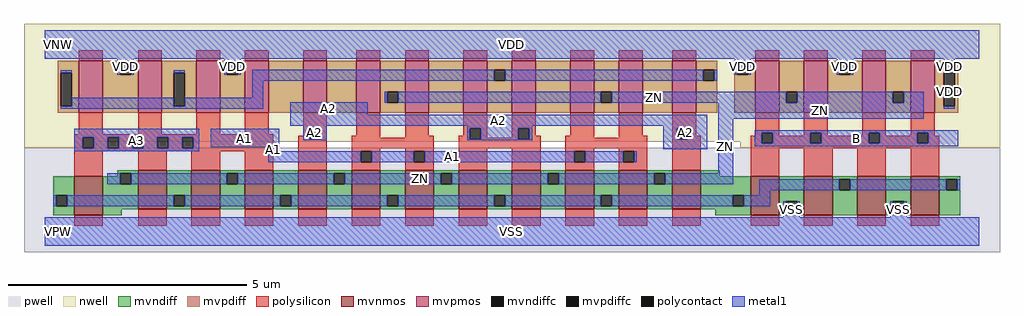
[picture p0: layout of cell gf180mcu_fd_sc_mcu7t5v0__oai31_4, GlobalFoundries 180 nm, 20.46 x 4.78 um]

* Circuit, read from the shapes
.subckt gf180mcu_fd_sc_mcu7t5v0__oai31_4 A1 A2 A3 B ZN VDD VNW VPW VSS
XM1 ZN A3 n1 VPW nfet_06v0 w=0.82u l=0.6u m=4
XM2 ZN A2 n1 VPW nfet_06v0 w=0.82u l=0.6u m=4
XM3 n1 A1 ZN VPW nfet_06v0 w=0.82u l=0.6u m=4
XM4 VSS B n1 VPW nfet_06v0 w=0.82u l=0.6u m=4
XM5 VDD A3 n2 VNW pfet_06v0 w=1.095u l=0.5u m=3
XM6 n3 A3 VDD VNW pfet_06v0 w=1.095u l=0.5u
XM7 n4 A2 n3 VNW pfet_06v0 w=1.095u l=0.5u
XM8 ZN A1 n4 VNW pfet_06v0 w=1.095u l=0.5u
XM9 n5 A1 ZN VNW pfet_06v0 w=1.095u l=0.5u
XM10 n2 A2 n5 VNW pfet_06v0 w=1.095u l=0.5u
XM11 n6 A2 n2 VNW pfet_06v0 w=1.095u l=0.5u
XM12 ZN A1 n6 VNW pfet_06v0 w=1.095u l=0.5u
XM13 n7 A1 ZN VNW pfet_06v0 w=1.095u l=0.5u
XM14 n2 A2 n7 VNW pfet_06v0 w=1.095u l=0.5u
XM15 ZN B VDD VNW pfet_06v0 w=1.095u l=0.5u m=4
.ends

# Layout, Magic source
magic
tech gf180mcuD
magscale 1 10
<< nwell >>
rect -86 377 4006 870
rect -86 352 219 377
rect 2916 352 4006 377
<< pwell >>
rect -86 -86 4006 352
<< mvnmos >>
rect 124 68 244 232
rect 392 93 512 257
rect 616 93 736 257
rect 840 93 960 257
rect 1064 93 1184 257
rect 1288 93 1408 257
rect 1512 93 1632 257
rect 1736 93 1856 257
rect 1960 93 2080 257
rect 2184 93 2304 257
rect 2408 93 2528 257
rect 2632 93 2752 257
rect 2960 68 3080 232
rect 3184 68 3304 232
rect 3408 68 3528 232
rect 3632 68 3752 232
<< mvpmos >>
rect 144 497 244 716
rect 392 497 492 716
rect 636 497 736 716
rect 840 497 940 716
rect 1084 497 1184 716
rect 1308 497 1408 716
rect 1512 497 1612 716
rect 1756 497 1856 716
rect 1960 497 2060 716
rect 2204 497 2304 716
rect 2408 497 2508 716
rect 2632 497 2732 716
rect 2980 497 3080 716
rect 3184 497 3284 716
rect 3428 497 3528 716
rect 3632 497 3732 716
<< mvndiff >>
rect 304 244 392 257
rect 304 232 317 244
rect 36 152 124 232
rect 36 106 49 152
rect 95 106 124 152
rect 36 68 124 106
rect 244 198 317 232
rect 363 198 392 244
rect 244 93 392 198
rect 512 152 616 257
rect 512 106 541 152
rect 587 106 616 152
rect 512 93 616 106
rect 736 244 840 257
rect 736 198 765 244
rect 811 198 840 244
rect 736 93 840 198
rect 960 152 1064 257
rect 960 106 989 152
rect 1035 106 1064 152
rect 960 93 1064 106
rect 1184 244 1288 257
rect 1184 198 1213 244
rect 1259 198 1288 244
rect 1184 93 1288 198
rect 1408 152 1512 257
rect 1408 106 1437 152
rect 1483 106 1512 152
rect 1408 93 1512 106
rect 1632 244 1736 257
rect 1632 198 1661 244
rect 1707 198 1736 244
rect 1632 93 1736 198
rect 1856 152 1960 257
rect 1856 106 1885 152
rect 1931 106 1960 152
rect 1856 93 1960 106
rect 2080 244 2184 257
rect 2080 198 2109 244
rect 2155 198 2184 244
rect 2080 93 2184 198
rect 2304 152 2408 257
rect 2304 106 2333 152
rect 2379 106 2408 152
rect 2304 93 2408 106
rect 2528 244 2632 257
rect 2528 198 2557 244
rect 2603 198 2632 244
rect 2528 93 2632 198
rect 2752 232 2832 257
rect 2752 152 2960 232
rect 2752 106 2885 152
rect 2931 106 2960 152
rect 2752 93 2960 106
rect 244 68 324 93
rect 2812 68 2960 93
rect 3080 127 3184 232
rect 3080 81 3109 127
rect 3155 81 3184 127
rect 3080 68 3184 81
rect 3304 219 3408 232
rect 3304 173 3333 219
rect 3379 173 3408 219
rect 3304 68 3408 173
rect 3528 127 3632 232
rect 3528 81 3557 127
rect 3603 81 3632 127
rect 3528 68 3632 81
rect 3752 219 3840 232
rect 3752 173 3781 219
rect 3827 173 3840 219
rect 3752 68 3840 173
<< mvpdiff >>
rect 56 665 144 716
rect 56 525 69 665
rect 115 525 144 665
rect 56 497 144 525
rect 244 703 392 716
rect 244 657 317 703
rect 363 657 392 703
rect 244 497 392 657
rect 492 665 636 716
rect 492 525 541 665
rect 587 525 636 665
rect 492 497 636 525
rect 736 703 840 716
rect 736 657 765 703
rect 811 657 840 703
rect 736 497 840 657
rect 940 497 1084 716
rect 1184 497 1308 716
rect 1408 586 1512 716
rect 1408 540 1437 586
rect 1483 540 1512 586
rect 1408 497 1512 540
rect 1612 497 1756 716
rect 1856 678 1960 716
rect 1856 632 1885 678
rect 1931 632 1960 678
rect 1856 497 1960 632
rect 2060 497 2204 716
rect 2304 586 2408 716
rect 2304 540 2333 586
rect 2379 540 2408 586
rect 2304 497 2408 540
rect 2508 497 2632 716
rect 2732 678 2820 716
rect 2732 632 2761 678
rect 2807 632 2820 678
rect 2732 497 2820 632
rect 2892 703 2980 716
rect 2892 657 2905 703
rect 2951 657 2980 703
rect 2892 497 2980 657
rect 3080 586 3184 716
rect 3080 540 3109 586
rect 3155 540 3184 586
rect 3080 497 3184 540
rect 3284 703 3428 716
rect 3284 657 3333 703
rect 3379 657 3428 703
rect 3284 497 3428 657
rect 3528 586 3632 716
rect 3528 540 3557 586
rect 3603 540 3632 586
rect 3528 497 3632 540
rect 3732 665 3830 716
rect 3732 525 3771 665
rect 3817 525 3830 665
rect 3732 497 3830 525
<< mvndiffc >>
rect 49 106 95 152
rect 317 198 363 244
rect 541 106 587 152
rect 765 198 811 244
rect 989 106 1035 152
rect 1213 198 1259 244
rect 1437 106 1483 152
rect 1661 198 1707 244
rect 1885 106 1931 152
rect 2109 198 2155 244
rect 2333 106 2379 152
rect 2557 198 2603 244
rect 2885 106 2931 152
rect 3109 81 3155 127
rect 3333 173 3379 219
rect 3557 81 3603 127
rect 3781 173 3827 219
<< mvpdiffc >>
rect 69 525 115 665
rect 317 657 363 703
rect 541 525 587 665
rect 765 657 811 703
rect 1437 540 1483 586
rect 1885 632 1931 678
rect 2333 540 2379 586
rect 2761 632 2807 678
rect 2905 657 2951 703
rect 3109 540 3155 586
rect 3333 657 3379 703
rect 3557 540 3603 586
rect 3771 525 3817 665
<< polysilicon >>
rect 144 716 244 760
rect 392 716 492 760
rect 636 716 736 760
rect 840 716 940 760
rect 1084 716 1184 760
rect 1308 716 1408 760
rect 1512 716 1612 760
rect 1756 716 1856 760
rect 1960 716 2060 760
rect 2204 716 2304 760
rect 2408 716 2508 760
rect 2632 716 2732 760
rect 2980 716 3080 760
rect 3184 716 3284 760
rect 3428 716 3528 760
rect 3632 716 3732 760
rect 144 408 244 497
rect 392 408 492 497
rect 636 408 736 497
rect 840 408 940 497
rect 1084 433 1184 497
rect 124 395 960 408
rect 1084 402 1111 433
rect 124 349 161 395
rect 207 349 265 395
rect 311 349 369 395
rect 415 349 473 395
rect 519 349 577 395
rect 623 349 960 395
rect 124 336 960 349
rect 124 232 244 336
rect 392 257 512 336
rect 616 257 736 336
rect 840 257 960 336
rect 1064 387 1111 402
rect 1157 387 1184 433
rect 1308 402 1408 497
rect 1064 257 1184 387
rect 1288 394 1408 402
rect 1512 402 1612 497
rect 1756 433 1856 497
rect 1756 402 1783 433
rect 1512 394 1632 402
rect 1288 348 1632 394
rect 1288 336 1408 348
rect 1288 290 1325 336
rect 1371 290 1408 336
rect 1288 257 1408 290
rect 1512 336 1632 348
rect 1512 290 1549 336
rect 1595 290 1632 336
rect 1512 257 1632 290
rect 1736 387 1783 402
rect 1829 394 1856 433
rect 1960 433 2060 497
rect 1960 394 1987 433
rect 1829 387 1987 394
rect 2033 402 2060 433
rect 2204 402 2304 497
rect 2033 387 2080 402
rect 1736 348 2080 387
rect 1736 257 1856 348
rect 1960 257 2080 348
rect 2184 394 2304 402
rect 2408 402 2508 497
rect 2632 433 2732 497
rect 2408 394 2528 402
rect 2184 348 2528 394
rect 2184 336 2304 348
rect 2184 290 2221 336
rect 2267 290 2304 336
rect 2184 257 2304 290
rect 2408 336 2528 348
rect 2408 290 2427 336
rect 2473 290 2528 336
rect 2408 257 2528 290
rect 2632 387 2651 433
rect 2697 402 2732 433
rect 2980 415 3080 497
rect 2980 402 3007 415
rect 2697 387 2752 402
rect 2632 257 2752 387
rect 2960 369 3007 402
rect 3053 402 3080 415
rect 3184 415 3284 497
rect 3184 402 3211 415
rect 3053 369 3211 402
rect 3257 402 3284 415
rect 3428 415 3528 497
rect 3428 402 3455 415
rect 3257 369 3455 402
rect 3501 402 3528 415
rect 3632 415 3732 497
rect 3632 402 3659 415
rect 3501 369 3659 402
rect 3705 402 3732 415
rect 3705 369 3752 402
rect 2960 348 3752 369
rect 2960 232 3080 348
rect 3184 232 3304 348
rect 3408 232 3528 348
rect 3632 232 3752 348
rect 124 24 244 68
rect 392 24 512 93
rect 616 24 736 93
rect 840 24 960 93
rect 1064 24 1184 93
rect 1288 24 1408 93
rect 1512 24 1632 93
rect 1736 24 1856 93
rect 1960 24 2080 93
rect 2184 24 2304 93
rect 2408 24 2528 93
rect 2632 24 2752 93
rect 2960 24 3080 68
rect 3184 24 3304 68
rect 3408 24 3528 68
rect 3632 24 3752 68
<< polycontact >>
rect 161 349 207 395
rect 265 349 311 395
rect 369 349 415 395
rect 473 349 519 395
rect 577 349 623 395
rect 1111 387 1157 433
rect 1325 290 1371 336
rect 1549 290 1595 336
rect 1783 387 1829 433
rect 1987 387 2033 433
rect 2221 290 2267 336
rect 2427 290 2473 336
rect 2651 387 2697 433
rect 3007 369 3053 415
rect 3211 369 3257 415
rect 3455 369 3501 415
rect 3659 369 3705 415
<< metal1 >>
rect 0 724 3920 844
rect 306 703 374 724
rect 69 665 115 676
rect 306 657 317 703
rect 363 657 374 703
rect 754 703 822 724
rect 541 665 587 676
rect 115 525 541 560
rect 754 657 765 703
rect 811 657 822 703
rect 2894 703 2962 724
rect 872 632 1885 678
rect 1931 632 2761 678
rect 2807 632 2820 678
rect 2894 657 2905 703
rect 2951 657 2962 703
rect 3322 703 3390 724
rect 3322 657 3333 703
rect 3379 657 3390 703
rect 3771 665 3817 724
rect 872 560 918 632
rect 587 525 918 560
rect 69 514 918 525
rect 1030 490 1355 542
rect 1426 540 1437 586
rect 1483 540 2333 586
rect 2379 540 3109 586
rect 3155 540 3557 586
rect 3603 540 3686 586
rect 1030 444 2778 490
rect 1084 433 1184 444
rect 124 395 648 430
rect 124 349 161 395
rect 207 349 265 395
rect 311 349 369 395
rect 415 349 473 395
rect 519 349 577 395
rect 623 349 648 395
rect 696 354 984 430
rect 1084 387 1111 433
rect 1157 387 1184 433
rect 1084 382 1184 387
rect 1772 433 2044 444
rect 1772 387 1783 433
rect 1829 387 1987 433
rect 2033 387 2044 433
rect 1772 382 2044 387
rect 2594 433 2778 444
rect 2594 387 2651 433
rect 2697 387 2778 433
rect 124 336 648 349
rect 938 336 984 354
rect 2594 345 2778 387
rect 2824 472 3686 540
rect 3771 514 3817 525
rect 938 290 1325 336
rect 1371 290 1549 336
rect 1595 290 2221 336
rect 2267 290 2427 336
rect 2473 290 2484 336
rect 2824 244 2888 472
rect 2978 415 3830 424
rect 2978 369 3007 415
rect 3053 369 3211 415
rect 3257 369 3455 415
rect 3501 369 3659 415
rect 3705 369 3830 415
rect 2978 357 3830 369
rect 262 198 317 244
rect 363 198 765 244
rect 811 198 1213 244
rect 1259 198 1661 244
rect 1707 198 2109 244
rect 2155 198 2557 244
rect 2603 198 2888 244
rect 2996 173 3333 219
rect 3379 173 3781 219
rect 3827 173 3840 219
rect 2996 152 3042 173
rect 36 106 49 152
rect 95 106 541 152
rect 587 106 989 152
rect 1035 106 1437 152
rect 1483 106 1885 152
rect 1931 106 2333 152
rect 2379 106 2885 152
rect 2931 106 3042 152
rect 3098 81 3109 127
rect 3155 81 3166 127
rect 3098 60 3166 81
rect 3546 81 3557 127
rect 3603 81 3614 127
rect 3546 60 3614 81
rect 0 -60 3920 60
<< labels >>
flabel metal1 s 124 336 648 430 0 FreeSans 400 0 0 0 A3
port 3 nsew default input
flabel metal1 s 2978 357 3830 424 0 FreeSans 400 0 0 0 B
port 4 nsew default input
flabel metal1 s 0 724 3920 844 0 FreeSans 400 0 0 0 VDD
port 6 nsew power bidirectional abutment
flabel metal1 s 3546 60 3614 127 0 FreeSans 400 0 0 0 VSS
port 9 nsew ground bidirectional abutment
flabel metal1 s 1426 540 3686 586 0 FreeSans 400 0 0 0 ZN
port 5 nsew default output
flabel metal1 s 696 354 984 430 0 FreeSans 400 0 0 0 A1
port 1 nsew default input
flabel metal1 s 1030 490 1355 542 0 FreeSans 400 0 0 0 A2
port 2 nsew default input
flabel nwell s 10 734 110 834 0 FreeSans 400 0 0 0 VNW
port 7 nsew power bidirectional
flabel pwell s 10 -50 110 50 0 FreeSans 400 0 0 0 VPW
port 8 nsew ground bidirectional
rlabel metal1 s 938 336 984 354 1 A1
port 1 nsew default input
rlabel metal1 s 938 290 2484 336 1 A1
port 1 nsew default input
rlabel metal1 s 1030 444 2778 490 1 A2
port 2 nsew default input
rlabel metal1 s 2594 382 2778 444 1 A2
port 2 nsew default input
rlabel metal1 s 1772 382 2044 444 1 A2
port 2 nsew default input
rlabel metal1 s 1084 382 1184 444 1 A2
port 2 nsew default input
rlabel metal1 s 2594 345 2778 382 1 A2
port 2 nsew default input
rlabel metal1 s 2824 472 3686 540 1 ZN
port 5 nsew default output
rlabel metal1 s 2824 244 2888 472 1 ZN
port 5 nsew default output
rlabel metal1 s 262 198 2888 244 1 ZN
port 5 nsew default output
rlabel metal1 s 3771 657 3817 724 1 VDD
port 6 nsew power bidirectional abutment
rlabel metal1 s 3322 657 3390 724 1 VDD
port 6 nsew power bidirectional abutment
rlabel metal1 s 2894 657 2962 724 1 VDD
port 6 nsew power bidirectional abutment
rlabel metal1 s 754 657 822 724 1 VDD
port 6 nsew power bidirectional abutment
rlabel metal1 s 306 657 374 724 1 VDD
port 6 nsew power bidirectional abutment
rlabel metal1 s 3771 514 3817 657 1 VDD
port 6 nsew power bidirectional abutment
rlabel metal1 s 3098 60 3166 127 1 VSS
port 9 nsew ground bidirectional abutment
rlabel metal1 s 0 -60 3920 60 1 VSS
port 9 nsew ground bidirectional abutment
<< properties >>
string FIXED_BBOX 0 0 3920 784
string GDS_END 51476
string GDS_FILE $PDKPATH/libs.ref/gf180mcu_fd_sc_mcu7t5v0/gds/gf180mcu_fd_sc_mcu7t5v0.gds
string GDS_START 44342
string LEFclass core
string LEFsite GF018hv5v_mcu_sc7
string LEFsymmetry X Y
<< end >>
